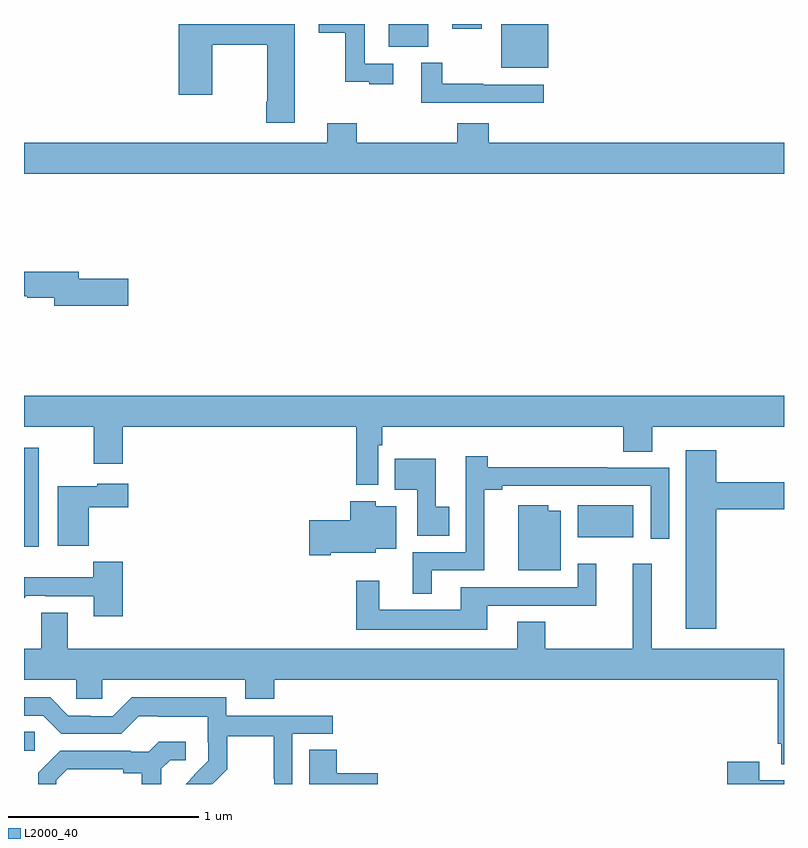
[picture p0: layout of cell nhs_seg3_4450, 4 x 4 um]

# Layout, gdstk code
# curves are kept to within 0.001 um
import gdstk
lib = gdstk.Library(unit=1e-6, precision=1e-09)
def R(c, l, rs):  # rectangles x0, y0, x1, y1
    for r in rs: c.add(gdstk.rectangle(r[:2], r[2:], *l))
def P(c, l, *ps):  # polygons
    for p in ps: c.add(gdstk.Polygon(p, *l))
L2000_40 = (2000, 40)

nhs_seg3_4450 = lib.new_cell('nhs_seg3_4450')
R(nhs_seg3_4450, L2000_40, [(349,668.574,349.057,668.675), (349,669.648,349.078,670.171), (351.914,669.698,352.207,669.868), (351.512,672.17,351.76,672.4), (350.921,672.281,351.127,672.4), (351.255,672.375,351.409,672.4)])
P(nhs_seg3_4450, L2000_40, [(350.425,672.4),(349.814,672.4),(349.814,672.027),(349.992,672.027),(349.992,672.292),(350.281,672.292),(350.281,671.992),(350.276,671.992),(350.276,671.88),(350.425,671.88)],
  [(350.944,672.192),(350.793,672.192),(350.793,672.4),(350.55,672.4),(350.55,672.355),(350.692,672.355),(350.692,672.095),(350.816,672.095),(350.816,672.084),(350.944,672.084)],
  [(351.736,672.081),(351.416,672.081),(351.416,672.086),(351.202,672.086),(351.202,672.196),(351.092,672.196),(351.092,671.985),(351.736,671.985)],
  [(353,671.776),(351.446,671.776),(351.446,671.878),(351.281,671.878),(351.281,671.776),(350.75,671.776),(350.75,671.878),(350.597,671.878),(350.597,671.776),(349,671.776),(349,671.612),(353,671.612)],
  [(349.549,671.06),(349.288,671.06),(349.288,671.096),(349,671.096),(349,670.968),(349.017,670.968),(349.017,670.96),(349.16,670.96),(349.16,670.918),(349.549,670.918)],
  [(350.865,670.184),(350.885,670.184),(350.885,670.28),(352.154,670.28),(352.154,670.15),(352.306,670.15),(352.306,670.28),(353,670.28),(353,670.444),(349,670.444),(349,670.28),(349.367,670.28),(349.367,670.086),(349.52,670.086),(349.52,670.28),(350.749,670.28),(350.749,669.974),(350.865,669.974)],
  [(352.643,669.845),(353,669.845),(353,669.987),(352.643,669.987),(352.643,670.156),(352.484,670.156),(352.484,669.216),(352.643,669.216)],
  [(351.145,669.525),(351.422,669.525),(351.422,669.949),(351.517,669.949),(351.517,669.969),(352.299,669.969),(352.299,669.69),(352.395,669.69),(352.395,670.065),(352.07,670.065),(352.07,670.067),(351.44,670.067),(351.44,670.126),(351.324,670.126),(351.324,669.621),(351.047,669.621),(351.047,669.401),(351.145,669.401)],
  [(351.239,669.858),(351.166,669.858),(351.166,670.111),(350.95,670.111),(350.95,669.95),(351.069,669.95),(351.069,669.706),(351.239,669.706)],
  [(349.34,669.857),(349.549,669.857),(349.549,669.979),(349.386,669.979),(349.386,669.967),(349.178,669.967),(349.178,669.653),(349.34,669.653)],
  [(350.614,669.617),(350.85,669.617),(350.85,669.638),(350.959,669.638),(350.959,669.862),(350.85,669.862),(350.85,669.889),(350.717,669.889),(350.717,669.788),(350.502,669.788),(350.502,669.605),(350.614,669.605)],
  [(351.826,669.838),(351.76,669.838),(351.76,669.868),(351.602,669.868),(351.602,669.524),(351.826,669.524)],
  [(349.52,669.571),(349.365,669.571),(349.365,669.487),(349,669.487),(349,669.378),(349.012,669.39),(349.111,669.39),(349.111,669.387),(349.367,669.387),(349.367,669.282),(349.52,669.282)],
  [(353,669.112),(352.304,669.112),(352.304,669.559),(352.205,669.559),(352.205,669.112),(351.744,669.112),(351.744,669.254),(351.596,669.254),(351.596,669.112),(349.231,669.112),(349.231,669.302),(349.091,669.302),(349.091,669.112),(349,669.112),(349,668.948),(349.275,668.948),(349.275,668.85),(349.413,668.85),(349.413,668.948),(350.165,668.948),(350.165,668.849),(350.318,668.849),(350.318,668.948),(352.968,668.948),(352.968,668.611),(352.985,668.611),(352.985,668.504),(353,668.504)],
  [(351.439,669.339),(352.013,669.339),(352.013,669.559),(351.915,669.559),(351.915,669.435),(351.299,669.435),(351.299,669.316),(350.869,669.316),(350.869,669.469),(350.748,669.469),(350.748,669.212),(351.439,669.212)],
  [(349.989,668.403),(349.992,668.4),(350.069,668.477),(350.069,668.652),(350.314,668.652),(350.314,668.428),(350.316,668.428),(350.316,668.4),(350.412,668.4),(350.412,668.664),(350.626,668.664),(350.626,668.76),(350.064,668.76),(350.064,668.857),(349.567,668.857),(349.467,668.757),(349.352,668.757),(349.352,668.76),(349.233,668.76),(349.137,668.856),(349,668.856),(349,668.76),(349.101,668.76),(349.197,668.664),(349.512,668.664),(349.605,668.757),(349.705,668.757),(349.705,668.753),(349.968,668.753),(349.968,668.619),(349.97,668.619),(349.97,668.522),(349.85,668.4),(349.986,668.4)],
  [(349.171,668.421),(349.228,668.478),(349.523,668.478),(349.523,668.456),(349.619,668.456),(349.619,668.4),(349.723,668.4),(349.723,668.479),(349.77,668.526),(349.852,668.526),(349.852,668.623),(349.708,668.623),(349.656,668.571),(349.562,668.571),(349.562,668.574),(349.19,668.574),(349.074,668.458),(349.074,668.4),(349.171,668.4)],
  [(350.863,668.456),(350.645,668.456),(350.645,668.579),(350.501,668.579),(350.501,668.4),(350.863,668.4)],
  [(353,668.419),(352.87,668.419),(352.87,668.518),(352.7,668.518),(352.7,668.4),(353,668.4)])

lib.write_gds('nhs_seg3_4450.gds')
